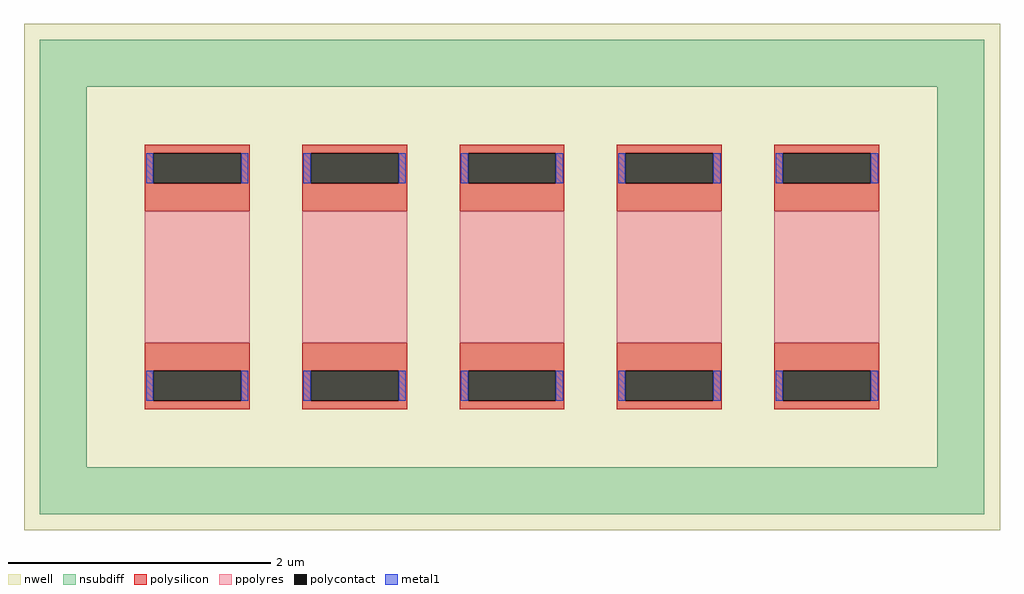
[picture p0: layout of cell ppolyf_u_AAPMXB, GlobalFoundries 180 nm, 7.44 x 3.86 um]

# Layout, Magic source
magic
tech gf180mcuC
magscale 1 10
<< nwell >>
rect -744 -386 744 386
<< nsubdiff >>
rect -720 290 720 362
rect -720 -290 -648 290
rect 648 -290 720 290
rect -720 -362 720 -290
<< polysilicon >>
rect -560 189 -400 202
rect -560 143 -547 189
rect -413 143 -400 189
rect -560 100 -400 143
rect -560 -143 -400 -100
rect -560 -189 -547 -143
rect -413 -189 -400 -143
rect -560 -202 -400 -189
rect -320 189 -160 202
rect -320 143 -307 189
rect -173 143 -160 189
rect -320 100 -160 143
rect -320 -143 -160 -100
rect -320 -189 -307 -143
rect -173 -189 -160 -143
rect -320 -202 -160 -189
rect -80 189 80 202
rect -80 143 -67 189
rect 67 143 80 189
rect -80 100 80 143
rect -80 -143 80 -100
rect -80 -189 -67 -143
rect 67 -189 80 -143
rect -80 -202 80 -189
rect 160 189 320 202
rect 160 143 173 189
rect 307 143 320 189
rect 160 100 320 143
rect 160 -143 320 -100
rect 160 -189 173 -143
rect 307 -189 320 -143
rect 160 -202 320 -189
rect 400 189 560 202
rect 400 143 413 189
rect 547 143 560 189
rect 400 100 560 143
rect 400 -143 560 -100
rect 400 -189 413 -143
rect 547 -189 560 -143
rect 400 -202 560 -189
<< polycontact >>
rect -547 143 -413 189
rect -547 -189 -413 -143
rect -307 143 -173 189
rect -307 -189 -173 -143
rect -67 143 67 189
rect -67 -189 67 -143
rect 173 143 307 189
rect 173 -189 307 -143
rect 413 143 547 189
rect 413 -189 547 -143
<< ppolyres >>
rect -560 -100 -400 100
rect -320 -100 -160 100
rect -80 -100 80 100
rect 160 -100 320 100
rect 400 -100 560 100
<< metal1 >>
rect -558 143 -547 189
rect -413 143 -402 189
rect -318 143 -307 189
rect -173 143 -162 189
rect -78 143 -67 189
rect 67 143 78 189
rect 162 143 173 189
rect 307 143 318 189
rect 402 143 413 189
rect 547 143 558 189
rect -558 -189 -547 -143
rect -413 -189 -402 -143
rect -318 -189 -307 -143
rect -173 -189 -162 -143
rect -78 -189 -67 -143
rect 67 -189 78 -143
rect 162 -189 173 -143
rect 307 -189 318 -143
rect 402 -189 413 -143
rect 547 -189 558 -143
<< properties >>
string FIXED_BBOX -684 -326 684 326
string gencell ppolyf_u
string library gf180mcu
string parameters w 0.8 l 1.0 m 1 nx 5 wmin 0.80 lmin 1.00 rho 315 val 431.506 dummy 0 dw 0.07 term 0.0 sterm 0.0 caplen 0.4 snake 0 glc 0 grc 0 gtc 0 gbc 0 roverlap 0 endcov 100 full_metal 0
<< end >>
